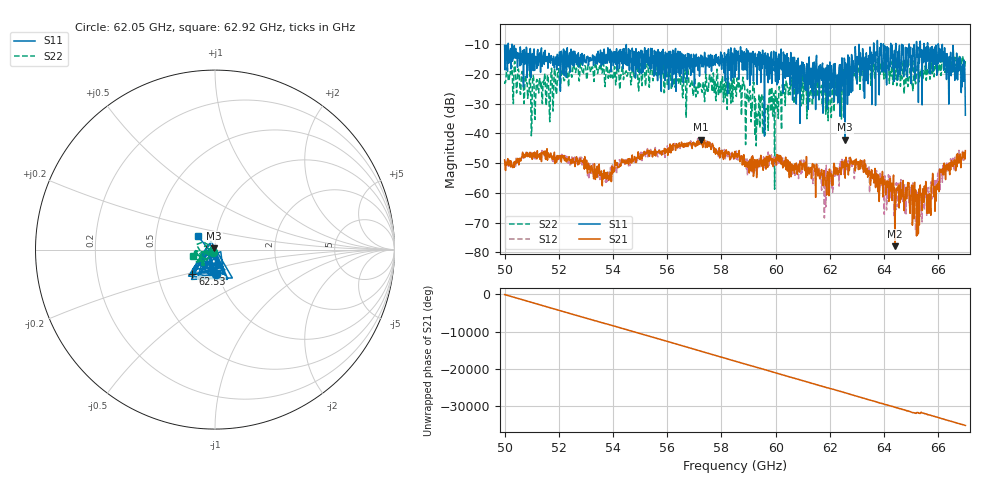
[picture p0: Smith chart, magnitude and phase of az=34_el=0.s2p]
!Created with skrf (http://scikit-rf.org).
# GHz S RI R 50.0
!freq ReS11 ImS11 ReS21 ImS21 ReS12 ImS12 ReS22 ImS22
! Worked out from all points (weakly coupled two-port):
!   1001 points, 50 GHz to 67 GHz, reference 50 ohm
!   highest |S21| = -42.06 dB at 57.24 GHz (marker M1); lowest = -77.9 dB at 64.4 GHz (marker M2)
!   lowest |S11| = -42.1 dB at 62.56 GHz (marker M3), VSWR 1.02, Z = 49.5 + j0.634 ohm
!   |S11| at or under -10 dB: 50.27 GHz to 63.62 GHz (13.34 GHz wide, 23.4 % of centre); 64.43 GHz to 64.93 GHz (492.2 MHz wide, 0.761 % of centre); 66 GHz to end of sweep (the widest 3 of 15)
!   |S22| runs from -58.8 to -13.7 dB; largest |S21 - S12| = 0.0022
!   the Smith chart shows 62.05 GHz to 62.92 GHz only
!   S11 on the Smith chart (normalised r, x): 62.05 GHz: 0.97, -0.27; 62.53 GHz: 0.75, -0.21; 62.92 GHz: 0.82, +0.12
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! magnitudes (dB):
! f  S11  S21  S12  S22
! 50 GHz  -10.4  -48.9  -49.1  -23.4
! 50.44 GHz  -12.7  -48.7  -49.3  -26.4
! 51.05 GHz  -18.9  -46.5  -48.1  -20.5
! 51.26 GHz  -16.0  -47.8  -47.4  -26.4
! 52.84 GHz  -14.3  -49.2  -48.0  -18.2
! 53.74 GHz  -13.9  -53.2  -54.6  -19.4
! 55.68 GHz  -13.7  -46.1  -46.3  -20.1
! 57.24 GHz  -13.7  -42.1  -42.8  -24.4
! 58.5 GHz  -21.1  -46.1  -47.5  -25.2
! 59.61 GHz  -13.1  -48.3  -52.1  -40.5
! 60.34 GHz  -13.6  -51.0  -50.8  -25.6
! 61.34 GHz  -25.9  -51.7  -53.8  -26.4
! 62.05 GHz  -17.2  -55.0  -58.1  -34.7
! 62.53 GHz  -14.7  -49.6  -49.3  -18.5
! 62.56 GHz  -42.1  -55.1  -50.3  -21.6
! 62.92 GHz  -18.4  -49.0  -51.3  -18.1
! 64.18 GHz  -18.8  -62.9  -59.0  -18.5
! 64.4 GHz  -15.8  -77.9  -64.0  -21.8
! 65.23 GHz  -11.6  -74.1  -59.5  -16.5
! 66.08 GHz  -15.7  -52.9  -51.8  -15.1
! 66.9 GHz  -16.8  -46.4  -46.0  -14.1
! 67 GHz  -33.9  -45.8  -46.5  -15.3
